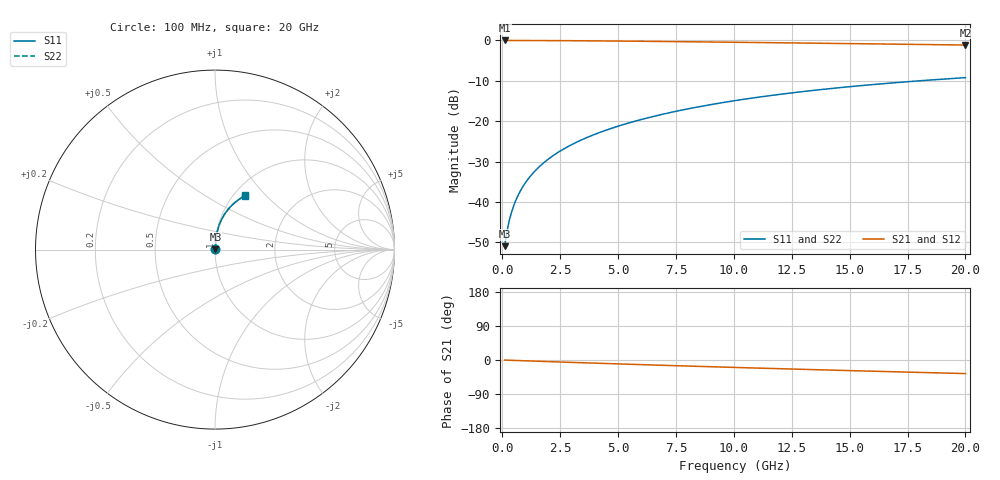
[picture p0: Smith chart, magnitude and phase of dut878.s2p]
! Touchstone file exported from HFSS 2024.1.0
!  File:  C:/UserFiles/LocalFiles/RDL_TSV_Batchsim/temp_RDL_bottom_878_1779865326.aedt
!  Generated:  03:04:40 PM May 27, 2026
!  Design:  RDL_bottom
!  Project:  temp_RDL_bottom_878_1779865326
!  Setup:  Setup1
!  Solution:  Sweep
! Variables:
!  dtsv = 10.80580581um
!  hbump = 3um
!  htsv = 84.45um
!  ldown = 491.5um
!  lrdl = 100um
!  p = 40
!  p1 = 50.72um
!  rhole = 1um
!  t = 450um
!  tdown = 4.26um
!  trdl = 3.915915916um
!  wdown = 20.44um
!  wrdl = 20um
# GHz S MA R 50.000000
! Terminal data exported
! Port[1] = RDL1_T1
! Port[2] = RDL1_T2
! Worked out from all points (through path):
!   200 points, 100 MHz to 20 GHz, reference 50 ohm
!   highest |S21| = -0.02 dB at 100 MHz (marker M1); lowest = -1.2 dB at 20 GHz (marker M2)
!   group delay of S21, straight-line fit = 4.94 ps
!   lowest |S11| = -50.9 dB at 100 MHz (marker M3), VSWR 1.01, Z = 50.2 + j0.185 ohm
!   |S11| at or under -10 dB: start of sweep to 18.03 GHz
!   |S22| runs from -50.9 to -9.2 dB; largest |S21 - S12| = 2e-15
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0.1  0.002838 40.4  0.9978 -0.2  0.9978 -0.2  0.002838 40.4
! Gamma 0 0 0 0
! Port Impedance 50 0 50 0
0.2  0.004278 58.1  0.9977 -0.4  0.9977 -0.4  0.004278 58.1
0.3  0.005871 66.1  0.9976 -0.7  0.9976 -0.7  0.005871 66.1
0.4  0.007489 70.6  0.9974 -0.9  0.9974 -0.9  0.007489 70.6
0.5  0.009113 73.5  0.9973 -1.1  0.9973 -1.1  0.009112 73.5
0.6  0.01074 75.7  0.9972 -1.3  0.9972 -1.3  0.01074 75.7
0.8  0.01402 78.5  0.9969 -1.7  0.9969 -1.7  0.01402 78.5
1.1  0.01898 81.0  0.9964 -2.4  0.9964 -2.4  0.01898 81.0
1.5  0.02567 82.7  0.9956 -3.2  0.9956 -3.2  0.02567 82.8
1.8  0.03074 83.5  0.9949 -3.8  0.9949 -3.8  0.03074 83.5
2.1  0.03583 84.0  0.994 -4.5  0.994 -4.5  0.03584 84.0
2.7  0.04612 84.4  0.992 -5.7  0.992 -5.7  0.04613 84.4
3.5  0.06004 84.4  0.9886 -7.3  0.9886 -7.3  0.06005 84.5
4.2  0.0724 84.1  0.9852 -8.7  0.9852 -8.7  0.07241 84.2
5  0.08672 83.6  0.9809 -10.3  0.9809 -10.3  0.08674 83.6
5.9  0.1031 82.7  0.9756 -12.1  0.9756 -12.1  0.1031 82.7
6.8  0.1196 81.7  0.97 -13.8  0.97 -13.8  0.1196 81.7
8.4  0.1492 79.5  0.9594 -16.7  0.9594 -16.7  0.1492 79.5
10.1  0.1806 76.9  0.9477 -19.7  0.9477 -19.7  0.1807 76.9
13.4  0.2399 71.5  0.9243 -25.4  0.9243 -25.4  0.24 71.5
16.7  0.2953 66.0  0.9001 -30.7  0.9001 -30.7  0.2954 66.0
20  0.3457 60.6  0.8757 -35.9  0.8757 -35.9  0.3459 60.7
